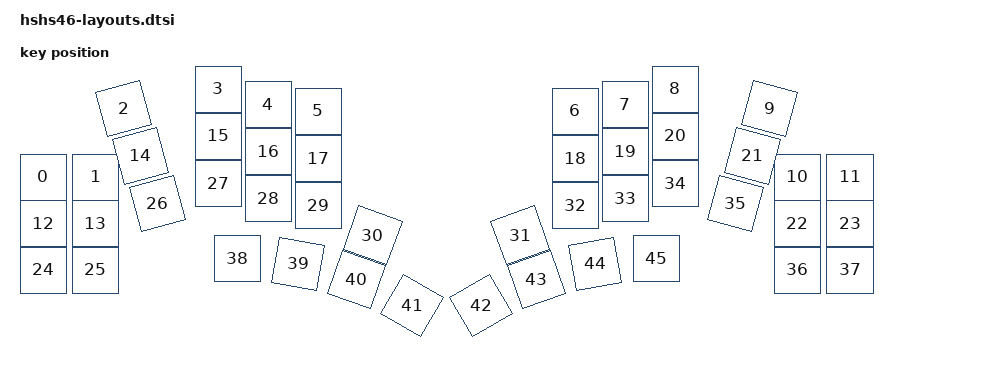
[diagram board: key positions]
/*
 * Copyright (c) 2021-2022 The ZMK Contributors
 * SPDX-License-Identifier: MIT
 *
 * HSHS46 Physical Layout — aligned with `hshs46.keymap` default layer labels for Studio.
 * NAV layer uses mmv / msc / mkp on these matrix slots (requires CONFIG_ZMK_POINTING=y).
 * Key rotations represent visual splay only (not PCB footprint rotation).
 * Left finger grid mirrors right about x=915 (2M=1830): x' = 1830−x−100, rx' = 1830−rx, rot' = −rot, y unchanged.
 * Col 3 ring W/S/X, O/L/DOT: spine x step ±34/+95 colinear centres; −15° / +15° per key — see docs/hshs46-column-angles.md (unchanged spine).
 * E/D/C and mirror I,K,comma: rot 0; each key pivots own centre — no shared off-row pivot row stagger.
 * Inner pair: L ESC, R BSPC on default; thumbs share pivot ry with adjacent thumb keys — see docs.
 * Outer pinky mirrors P…ENTER (row 0). Thumbs +12 gap.
 */

#include <physical_layouts.dtsi>

/ {
    hshs46_physical_layout: hshs46_physical_layout {
        compatible = "zmk,physical-layout";
        display-name = "HSHS46";

        keys  //                     w    h     x     y      rot    rx    ry
        /* Row 0 - left (mirror R row0: ENTER,P,O,I,U,Y) */
            = <&key_physical_attrs 100  100    58   176        0   108   226>  /* L row0 col0 TAB */
            , <&key_physical_attrs 100  100   163   176        0   213   226>  /* L row0 col1 Q */
            , <&key_physical_attrs 100  100   219    39  (-1500)   269    89>  /* L row0 col2 W */
            , <&key_physical_attrs 100  100   408     0        0   458    50>  /* L row0 col3 E */
            , <&key_physical_attrs 100  100   508    31        0   558    81>  /* L row0 col4 R */
            , <&key_physical_attrs 100  100   608    44        0   658    94>  /* L row0 col5 T */
        /* Row 0 - right */
            , <&key_physical_attrs 100  100  1122    44        0  1172    94>  /* R row0 col6 Y */
            , <&key_physical_attrs 100  100  1222    31        0  1272    81>  /* R row0 col7 U */
            , <&key_physical_attrs 100  100  1322     0        0  1372    50>  /* R row0 col8 I */
            , <&key_physical_attrs 100  100  1511    39     1500  1561    89>  /* R col3 row0 O */
            , <&key_physical_attrs 100  100  1567   176        0  1617   226>  /* R col5 row0 P */
            , <&key_physical_attrs 100  100  1672   176        0  1722   226>  /* R col6 row0 ENTER */
        /* Row 1 - left (mirror R row1: none,COLON,L,K,J,H) */
            , <&key_physical_attrs 100  100    58   269        0   108   319>  /* L row1 col0 none */
            , <&key_physical_attrs 100  100   163   269        0   213   319>  /* L row1 col1 A */
            , <&key_physical_attrs 100  100   253   134  (-1500)   303   184>  /* L row1 col2 S */
            , <&key_physical_attrs 100  100   408    94        0   458   144>  /* L row1 col3 D */
            , <&key_physical_attrs 100  100   508   125        0   558   175>  /* L row1 col4 F */
            , <&key_physical_attrs 100  100   608   139        0   658   189>  /* L row1 col5 G */
        /* Row 1 - right */
            , <&key_physical_attrs 100  100  1122   139        0  1172   189>  /* R row1 col6 H */
            , <&key_physical_attrs 100  100  1222   125        0  1272   175>  /* R row1 col7 J */
            , <&key_physical_attrs 100  100  1322    94        0  1372   144>  /* R row1 col8 K */
            , <&key_physical_attrs 100  100  1477   134     1500  1527   184>  /* R col3 row1 L */
            , <&key_physical_attrs 100  100  1567   269        0  1617   319>  /* R col5 row1 COLON */
            , <&key_physical_attrs 100  100  1672   269        0  1722   319>  /* R col6 row1 none */
        /* Row 2 - left (mirror R row2: none,SLASH,DOT,COMMA,M,N) */
            , <&key_physical_attrs 100  100    58   362        0   108   412>  /* L row2 col0 none */
            , <&key_physical_attrs 100  100   163   362        0   213   412>  /* L row2 col1 Z */
            , <&key_physical_attrs 100  100   287   229  (-1500)   337   279>  /* L row2 col2 X */
            , <&key_physical_attrs 100  100   408   189        0   458   239>  /* L row2 col3 C */
            , <&key_physical_attrs 100  100   508   219        0   558   269>  /* L row2 col4 V */
            , <&key_physical_attrs 100  100   608   233        0   658   283>  /* L row2 col5 B */
        /* Inner column — L ESC, R BSPC (default); pivot with thumbs — see docs */
            , <&key_physical_attrs 100  100   685   287     2000   735   431>  /* L ESC */
            , <&key_physical_attrs 100  100  1045   287  (-2000)  1095   431>  /* R BSPC */
        /* Row 2 - right */
            , <&key_physical_attrs 100  100  1122   233        0  1172   283>  /* R row2 col6 N */
            , <&key_physical_attrs 100  100  1222   219        0  1272   269>  /* R row2 col7 M */
            , <&key_physical_attrs 100  100  1322   189        0  1372   239>  /* R row2 col8 comma */
            , <&key_physical_attrs 100  100  1443   229     1500  1493   279>  /* R col3 row2 DOT */
            , <&key_physical_attrs 100  100  1567   362        0  1617   412>  /* R col5 row2 SLASH */
            , <&key_physical_attrs 100  100  1672   362        0  1722   412>  /* R col6 row2 none */
        /* Thumb default: LGUI LSHFT SPACE to(QWERTY) | to(NAV) to(SYM) RCTRL RALT */
            , <&key_physical_attrs 100  100   446   339        0   496   389>  /* L thumb RC(3,1) LGUI */
            , <&key_physical_attrs 100  100   568   350     1000   618   400>  /* L thumb RC(3,2) LSHFT */
            , <&key_physical_attrs 100  100   685   381     2000   735   431>  /* L thumb RC(3,3) SPACE */
            , <&key_physical_attrs 100  100   796   433     3000   846   483>  /* L thumb RC(3,4) to QWERTY_L */
            , <&key_physical_attrs 100  100   934   433  (-3000)   984   483>  /* R thumb RC(3,7) to NAV_L */
            , <&key_physical_attrs 100  100  1045   381  (-2000)  1095   431>  /* R thumb RC(3,8) to SYM_L */
            , <&key_physical_attrs 100  100  1162   350  (-1000)  1212   400>  /* R thumb RC(3,9) RCTRL */
            , <&key_physical_attrs 100  100  1284   339        0  1334   389>  /* R thumb RC(3,10) RALT */
            ;
    };
};
